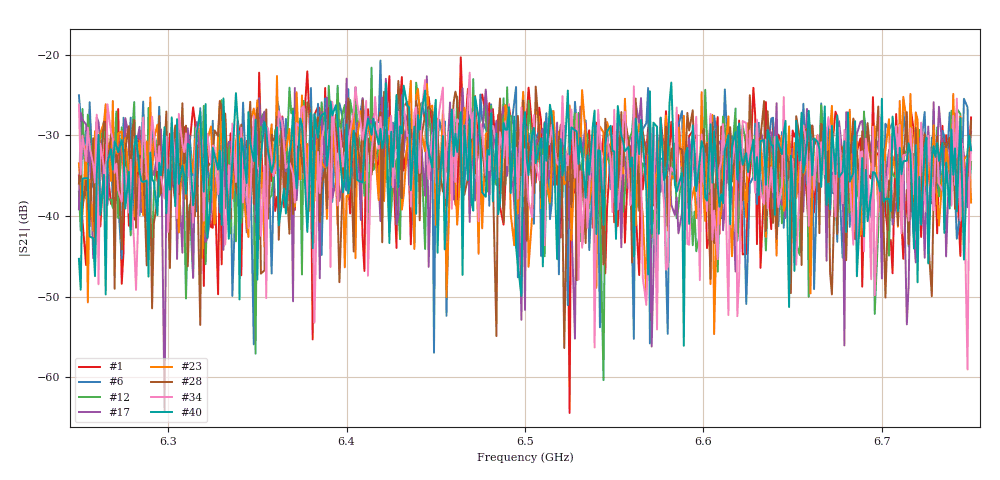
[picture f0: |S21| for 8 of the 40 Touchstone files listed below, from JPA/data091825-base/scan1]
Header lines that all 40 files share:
# Hz S RI R 50
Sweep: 6.25 GHz to 6.75 GHz
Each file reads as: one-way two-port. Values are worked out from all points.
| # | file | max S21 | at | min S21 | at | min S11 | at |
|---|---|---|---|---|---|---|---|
| 1 | trace40.s2p | -20.33 dB | 6.464 GHz | -64.4 dB | 6.525 GHz | -3.2 dB | 6.65 GHz |
| 2 | trace41.s2p | -22.89 dB | 6.475 GHz | -60.4 dB | 6.559 GHz | -3.3 dB | 6.666 GHz |
| 3 | trace42.s2p | -21.54 dB | 6.448 GHz | -52.3 dB | 6.518 GHz | -3.4 dB | 6.642 GHz |
| 4 | trace43.s2p | -23.46 dB | 6.46 GHz | -63.0 dB | 6.266 GHz | -3.4 dB | 6.66 GHz |
| 5 | trace44.s2p | -22.46 dB | 6.426 GHz | -59.2 dB | 6.34 GHz | -3.2 dB | 6.635 GHz |
| 6 | trace45.s2p | -20.73 dB | 6.419 GHz | -57.0 dB | 6.449 GHz | -3.3 dB | 6.69 GHz |
| 7 | trace46.s2p | -22.95 dB | 6.384 GHz | -57.5 dB | 6.708 GHz | -3.5 dB | 6.678 GHz |
| 8 | trace47.s2p | -23.20 dB | 6.482 GHz | -56.2 dB | 6.75 GHz | -3.3 dB | 6.652 GHz |
| 9 | trace48.s2p | -21.97 dB | 6.458 GHz | -66.9 dB | 6.742 GHz | -3.3 dB | 6.639 GHz |
| 10 | trace49.s2p | -21.70 dB | 6.454 GHz | -56.1 dB | 6.374 GHz | -3.3 dB | 6.665 GHz |
| 11 | trace50.s2p | -22.42 dB | 6.368 GHz | -53.3 dB | 6.364 GHz | -3.4 dB | 6.639 GHz |
| 12 | trace51.s2p | -21.61 dB | 6.414 GHz | -60.4 dB | 6.544 GHz | -3.5 dB | 6.641 GHz |
| 13 | trace52.s2p | -22.30 dB | 6.442 GHz | -61.4 dB | 6.712 GHz | -3.2 dB | 6.644 GHz |
| 14 | trace53.s2p | -22.20 dB | 6.491 GHz | -56.9 dB | 6.618 GHz | -3.6 dB | 6.656 GHz |
| 15 | trace54.s2p | -22.15 dB | 6.504 GHz | -60.0 dB | 6.261 GHz | -3.1 dB | 6.68 GHz |
| 16 | trace55.s2p | -20.68 dB | 6.434 GHz | -59.3 dB | 6.299 GHz | -3.4 dB | 6.644 GHz |
| 17 | trace56.s2p | -22.68 dB | 6.445 GHz | -64.3 dB | 6.298 GHz | -3.4 dB | 6.625 GHz |
| 18 | trace57.s2p | -22.24 dB | 6.431 GHz | -57.6 dB | 6.292 GHz | -3.6 dB | 6.674 GHz |
| 19 | trace58.s2p | -22.35 dB | 6.476 GHz | -59.4 dB | 6.746 GHz | -3.6 dB | 6.64 GHz |
| 20 | trace59.s2p | -22.65 dB | 6.55 GHz | -51.9 dB | 6.334 GHz | -3.2 dB | 6.68 GHz |
| 21 | trace60.s2p | -24.00 dB | 6.582 GHz | -56.2 dB | 6.389 GHz | -3.1 dB | 6.649 GHz |
| 22 | trace61.s2p | -22.67 dB | 6.455 GHz | -57.6 dB | 6.53 GHz | -3.6 dB | 6.626 GHz |
| 23 | trace62.s2p | -22.65 dB | 6.361 GHz | -54.7 dB | 6.606 GHz | -3.4 dB | 6.648 GHz |
| 24 | trace63.s2p | -21.22 dB | 6.408 GHz | -53.2 dB | 6.319 GHz | -3.4 dB | 6.681 GHz |
| 25 | trace64.s2p | -19.29 dB | 6.395 GHz | -55.4 dB | 6.478 GHz | -3.2 dB | 6.632 GHz |
| 26 | trace65.s2p | -20.02 dB | 6.432 GHz | -68.9 dB | 6.454 GHz | -3.4 dB | 6.639 GHz |
| 27 | trace66.s2p | -19.73 dB | 6.398 GHz | -57.4 dB | 6.258 GHz | -3.5 dB | 6.634 GHz |
| 28 | trace67.s2p | -23.26 dB | 6.429 GHz | -56.4 dB | 6.522 GHz | -3.5 dB | 6.639 GHz |
| 29 | trace68.s2p | -22.28 dB | 6.4 GHz | -62.0 dB | 6.291 GHz | -3.7 dB | 6.626 GHz |
| 30 | trace69.s2p | -22.95 dB | 6.464 GHz | -55.7 dB | 6.638 GHz | -3.7 dB | 6.646 GHz |
| 31 | trace70.s2p | -23.14 dB | 6.4 GHz | -69.3 dB | 6.684 GHz | -3.4 dB | 6.649 GHz |
| 32 | trace71.s2p | -21.90 dB | 6.445 GHz | -60.9 dB | 6.386 GHz | -3.4 dB | 6.64 GHz |
| 33 | trace72.s2p | -20.80 dB | 6.429 GHz | -55.7 dB | 6.338 GHz | -3.5 dB | 6.641 GHz |
| 34 | trace73.s2p | -22.24 dB | 6.469 GHz | -59.1 dB | 6.748 GHz | -3.5 dB | 6.635 GHz |
| 35 | trace74.s2p | -23.19 dB | 6.354 GHz | -54.8 dB | 6.658 GHz | -3.5 dB | 6.631 GHz |
| 36 | trace75.s2p | -20.51 dB | 6.429 GHz | -58.5 dB | 6.67 GHz | -3.3 dB | 6.644 GHz |
| 37 | trace76.s2p | -20.32 dB | 6.431 GHz | -57.2 dB | 6.291 GHz | -3.7 dB | 6.652 GHz |
| 38 | trace77.s2p | -23.31 dB | 6.414 GHz | -58.0 dB | 6.262 GHz | -3.3 dB | 6.625 GHz |
| 39 | trace78.s2p | -22.91 dB | 6.43 GHz | -59.1 dB | 6.255 GHz | -3.6 dB | 6.64 GHz |
| 40 | trace79.s2p | -23.45 dB | 6.582 GHz | -56.1 dB | 6.589 GHz | -4.6 dB | 6.744 GHz |
